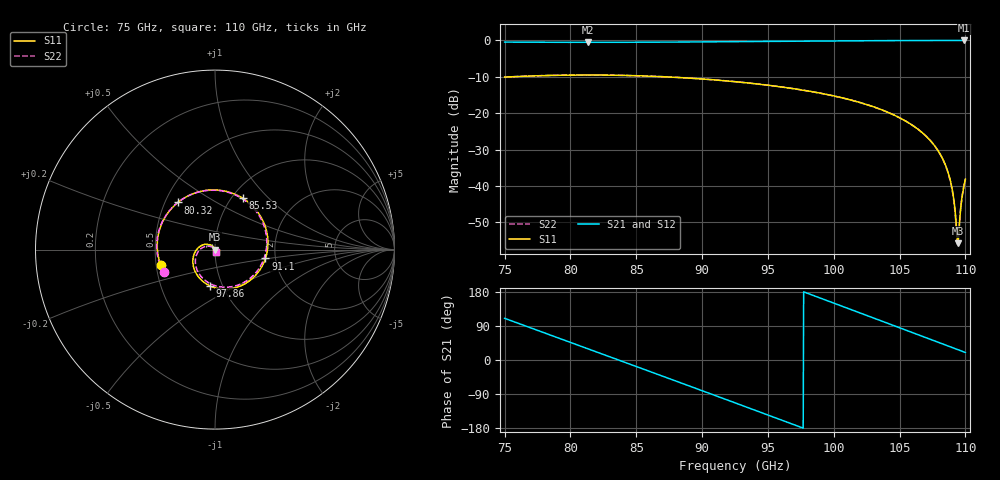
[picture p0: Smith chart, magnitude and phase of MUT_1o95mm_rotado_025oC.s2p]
! TOUCHSTONE file generated by CST MICROWAVE STUDIO
! Date and time: Wed Feb 14 23:05:57 2024
! Project name: material_rotado.cst
! Parameters = {angY=0.25}
! Header version: 2018
! Port assignment regex: !\s*Touchstone port\s*([0-9]+)\s*=\s*(CST MWS port|CST DS port)\s*([0-9]+|Zmin|Zmax)\s*\(\"(.*)\"\)(\s*mode\s*([0-9]+))?.*
! Touchstone port assignment:
! Touchstone port 1 = CST MWS port 1 ("")
! Touchstone port 2 = CST MWS port 2 ("")
# GHz S MA R 376.7
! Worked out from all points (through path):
!   1001 points, 75 GHz to 110 GHz, reference 376.7 ohm
!   highest |S21| = 0.00 dB at 109.9 GHz (marker M1); lowest = -0.5 dB at 81.3 GHz (marker M2)
!   group delay of S21, straight-line fit = 35.7 ps
!   lowest |S11| = -55.8 dB at 109.4 GHz (marker M3), VSWR 1.00, Z = 378 + j0.229 ohm
!   |S11| at or under -10 dB: start of sweep to 75.43 GHz; 87.22 GHz to end of sweep
!   |S22| runs from -56.6 to -9.5 dB; largest |S21 - S12| = 0
!   S11 on the Smith chart (normalised r, x): 75 GHz: 0.53, -0.10; 80.32 GHz: 0.58, +0.34; 85.53 GHz: 1.12, +0.72; 91.1 GHz: 1.77, -0.19; 97.86 GHz: 0.87, -0.37; 110 GHz: 1.01, -0.02
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75  0.3136 -163.8  0.9496 110.0  0.9496 110.0  0.3136 -156.1
77.625  0.3273 162.7  0.9449 76.7  0.9449 76.7  0.3276 170.7
80.32  0.3343 128.1  0.9425 42.3  0.9425 42.3  0.3342 136.4
80.845  0.3347 121.4  0.9423 35.6  0.9423 35.6  0.3346 129.8
81.3  0.3348 115.6  0.9423 29.8  0.9423 29.8  0.3347 124.0
83.435  0.3324 88.3  0.9432 2.7  0.9432 2.7  0.3323 97.0
85.535  0.3252 61.5  0.9456 -24.0  0.9456 -24.0  0.3252 70.5
86.69  0.3194 46.8  0.9476 -38.7  0.9476 -38.7  0.3194 55.9
88.965  0.304 17.6  0.9527 -67.7  0.9527 -67.7  0.3041 27.1
91.1  0.2854 -9.9  0.9584 -95.0  0.9584 -95.0  0.2854 -0.1
92.5  0.2712 -28.0  0.9625 -113.0  0.9625 -113.0  0.2712 -17.9
95.37  0.2379 -65.2  0.9713 -149.9  0.9713 -149.9  0.2379 -54.6
97.855  0.2047 -97.5  0.9788 178.0  0.9788 178.0  0.2047 -86.5
98.345  0.1976 -103.9  0.9803 171.7  0.9803 171.7  0.1976 -92.8
100.97  0.1572 -138.2  0.9876 137.6  0.9876 137.6  0.1572 -126.6
104.19  0.1014 179.3  0.9949 95.7  0.9949 95.7  0.1015 -167.9
108.005  0.02892 127.5  0.9995 46.0  0.9995 46.0  0.02874 144.2
108.845  0.01209 112.4  0.9998 35.0  0.9998 35.0  0.01181 137.1
109.3  0.003049 82.8  0.9999 29.0  0.9999 29.0  0.002772 155.8
109.44  0.001621 10.8  0.9999 27.2  0.9999 27.2  0.001576 -127.6
109.895  0.01013 -64.3  0.9999 21.2  0.9999 21.2  0.01018 -73.0
110  0.01238 -67.3  0.9999 19.8  0.9999 19.8  0.01238 -73.0
